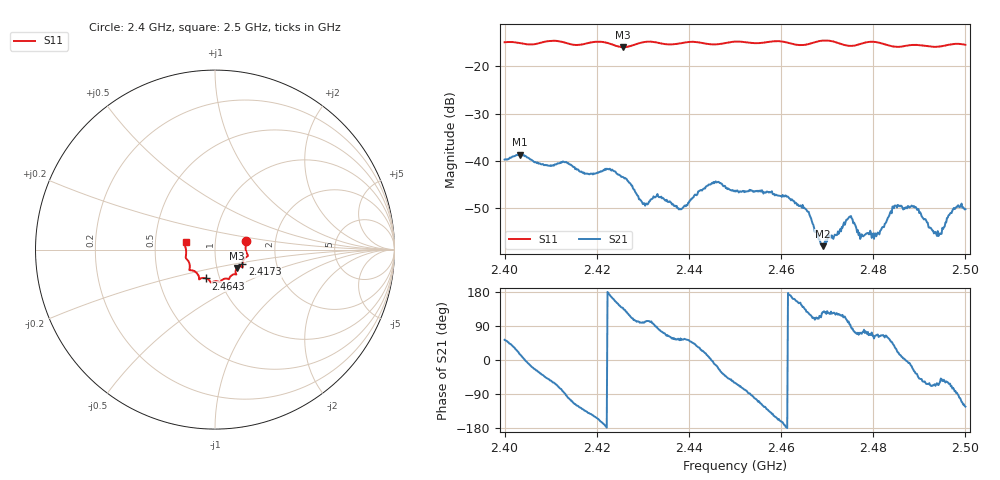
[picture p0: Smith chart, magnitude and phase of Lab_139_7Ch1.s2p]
# Hz S RI R 50
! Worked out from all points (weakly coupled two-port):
!   601 points, 2.4 GHz to 2.5 GHz, reference 50 ohm
!   highest |S21| = -38.70 dB at 2.4033 GHz (marker M1); lowest = -58.0 dB at 2.469 GHz (marker M2)
!   lowest |S11| = -15.9 dB at 2.4257 GHz (marker M3), VSWR 1.38, Z = 62.4 - j13.1 ohm
!   |S11| at or under -10 dB: start of sweep to end of sweep
!   S12 and S22 are empty: the file has one direction only
!   S11 on the Smith chart (normalised r, x): 2.4 GHz: 1.41, +0.14; 2.4173 GHz: 1.34, -0.23; 2.4643 GHz: 0.86, -0.28; 2.5 GHz: 0.72, +0.06
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2.4e9  0.1735 0.0484  0.00619 0.00829  0 0  0 0
2.403333e9  0.174 0.0314  0.0112 0.00298  0 0  0 0
2.416667e9  0.1531 -0.0747  -0.00468 -0.00616  0 0  0 0
2.417333e9  0.1521 -0.0822  -0.00503 -0.00529  0 0  0 0
2.425667e9  0.1225 -0.1024  -0.005 0.00457  0 0  0 0
2.430167e9  0.1176 -0.1371  -0.000526 0.00351  0 0  0 0
2.433333e9  0.1126 -0.1373  0.000544 0.00419  0 0  0 0
2.438167e9  0.0818 -0.1555  0.00169 0.00258  0 0  0 0
2.445333e9  0.0526 -0.1624  0.00595 -0.000759  0 0  0 0
2.45e9  0.0288 -0.1808  0.00242 -0.00422  0 0  0 0
2.464333e9  -0.0498 -0.1605  -0.00278 0.00186  0 0  0 0
2.466667e9  -0.0758 -0.1591  -0.000966 0.00212  0 0  0 0
2.469e9  -0.0879 -0.1657  -0.00074 0.00101  0 0  0 0
2.474667e9  -0.103 -0.1292  -0.000505 0.00246  0 0  0 0
2.477667e9  -0.1326 -0.1152  0.000459 0.00154  0 0  0 0
2.481167e9  -0.1423 -0.1081  0.000837 0.0015  0 0  0 0
2.483333e9  -0.1404 -0.0898  0.00139 0.00215  0 0  0 0
2.484667e9  -0.1429 -0.0754  0.00279 0.00189  0 0  0 0
2.488833e9  -0.1623 -0.0462  0.00292 -0.00162  0 0  0 0
2.494333e9  -0.162 0.00202  0.000785 -0.00146  0 0  0 0
2.497667e9  -0.1702 0.0306  0.000406 -0.00307  0 0  0 0
2.5e9  -0.164 0.0425  -0.00169 -0.00259  0 0  0 0
